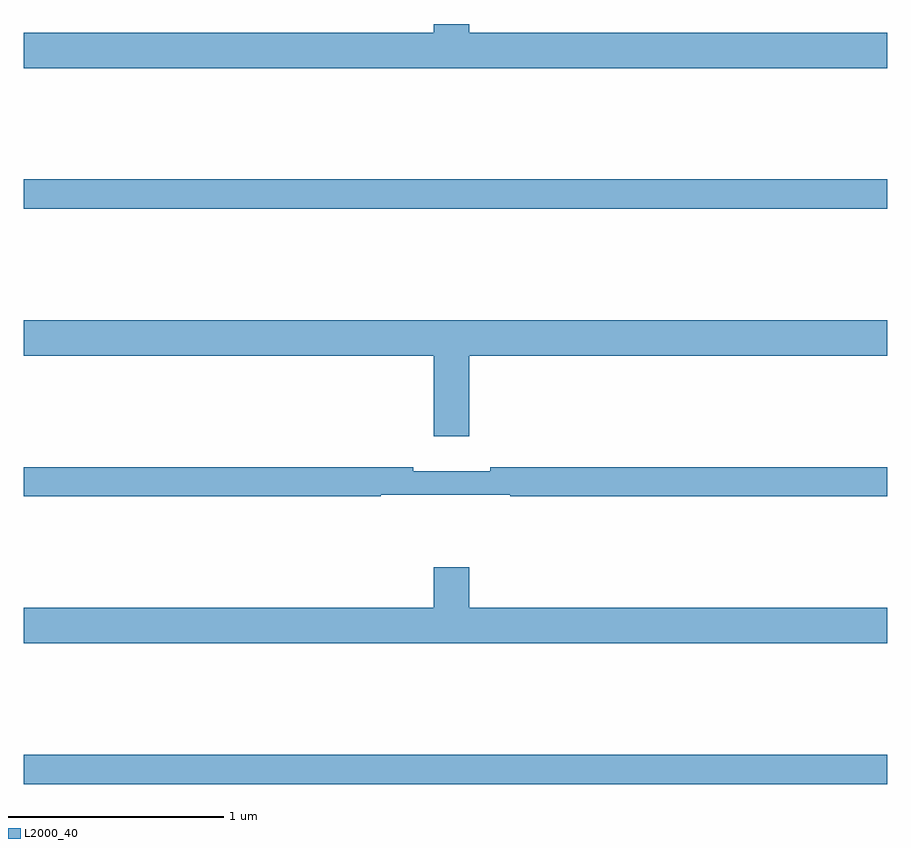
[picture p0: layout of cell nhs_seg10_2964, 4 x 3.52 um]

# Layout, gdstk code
import gdstk
lib = gdstk.Library(unit=1e-6, precision=1e-09)
def R(c, l, rs):  # rectangles x0, y0, x1, y1
    for r in rs: c.add(gdstk.rectangle(r[:2], r[2:], *l))
def P(c, l, *ps):  # polygons
    for p in ps: c.add(gdstk.Polygon(p, *l))
L2000_40 = (2000, 40)

nhs_seg10_2964 = lib.new_cell('nhs_seg10_2964')
R(nhs_seg10_2964, L2000_40, [(271,1316.98,275,1317.116), (271,1319.644,275,1319.78)])
P(nhs_seg10_2964, L2000_40, [(275,1320.46),(273.064,1320.46),(273.064,1320.5),(272.9,1320.5),(272.9,1320.46),(271,1320.46),(271,1320.296),(275,1320.296)],
  [(273.064,1318.964),(275,1318.964),(275,1319.128),(271,1319.128),(271,1318.964),(272.9,1318.964),(272.9,1318.59),(273.064,1318.59)],
  [(272.654,1318.32),(273.254,1318.32),(273.254,1318.312),(275,1318.312),(275,1318.448),(273.16,1318.448),(273.16,1318.429),(272.804,1318.429),(272.804,1318.448),(271,1318.448),(271,1318.312),(272.654,1318.312)],
  [(275,1317.796),(273.064,1317.796),(273.064,1317.985),(272.9,1317.985),(272.9,1317.796),(271,1317.796),(271,1317.632),(275,1317.632)])

lib.write_gds('nhs_seg10_2964.gds')
